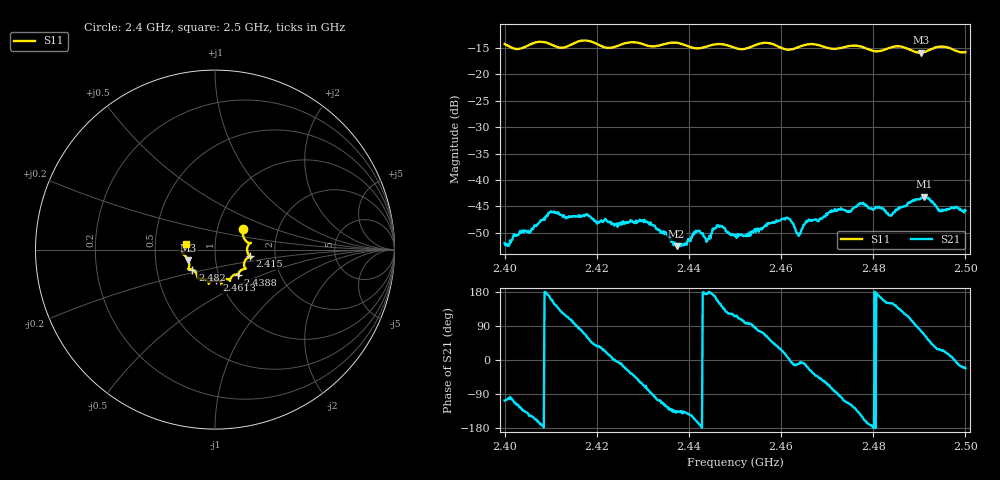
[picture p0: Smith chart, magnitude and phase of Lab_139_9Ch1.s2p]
# Hz S RI R 50
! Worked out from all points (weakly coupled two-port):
!   601 points, 2.4 GHz to 2.5 GHz, reference 50 ohm
!   highest |S21| = -43.19 dB at 2.491 GHz (marker M1); lowest = -52.5 dB at 2.4373 GHz (marker M2)
!   lowest |S11| = -15.9 dB at 2.4903 GHz (marker M3), VSWR 1.38, Z = 36.8 - j4.45 ohm
!   |S11| at or under -10 dB: start of sweep to end of sweep
!   S12 and S22 are empty: the file has one direction only
!   S11 on the Smith chart (normalised r, x): 2.4 GHz: 1.33, +0.31; 2.415 GHz: 1.47, -0.11; 2.4388 GHz: 1.24, -0.36; 2.4613 GHz: 0.96, -0.34; 2.482 GHz: 0.76, -0.17; 2.5 GHz: 0.72, +0.05
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2.4e9  0.1575 0.1125  -0.000738 -0.00241  0 0  0 0
2.41e9  0.1899 0.031  -0.00478 0.00162  0 0  0 0
2.415e9  0.1927 -0.0363  -0.000624 0.00453  0 0  0 0
2.416667e9  0.2035 -0.0442  0.000889 0.00438  0 0  0 0
2.429833e9  0.1613 -0.1081  0.0019 -0.00366  0 0  0 0
2.433333e9  0.1325 -0.1316  -0.000927 -0.00322  0 0  0 0
2.437333e9  0.1348 -0.1466  -0.00167 -0.00166  0 0  0 0
2.438833e9  0.1298 -0.1407  -0.00178 -0.00171  0 0  0 0
2.441667e9  0.1028 -0.1434  -0.00308 -0.001  0 0  0 0
2.444167e9  0.0849 -0.1647  -0.00276 0.000129  0 0  0 0
2.4465e9  0.0841 -0.1745  -0.00315 0.00175  0 0  0 0
2.45e9  0.0686 -0.1645  -0.00127 0.00276  0 0  0 0
2.461333e9  0.00821 -0.1711  0.00435 0.000599  0 0  0 0
2.463833e9  -0.0254 -0.1796  0.0029 -0.000516  0 0  0 0
2.466667e9  -0.0346 -0.1902  0.00351 -0.00213  0 0  0 0
2.477333e9  -0.0969 -0.1553  -0.00496 -0.00334  0 0  0 0
2.482e9  -0.1261 -0.1117  -0.00502 0.00187  0 0  0 0
2.483333e9  -0.1397 -0.1087  -0.00403 0.00229  0 0  0 0
2.490333e9  -0.149 -0.0589  0.00153 0.00658  0 0  0 0
2.491e9  -0.1549 -0.0489  0.00262 0.00641  0 0  0 0
2.4945e9  -0.1818 -0.0207  0.00452 0.00221  0 0  0 0
2.5e9  -0.1589 0.0325  0.00477 -0.00188  0 0  0 0
